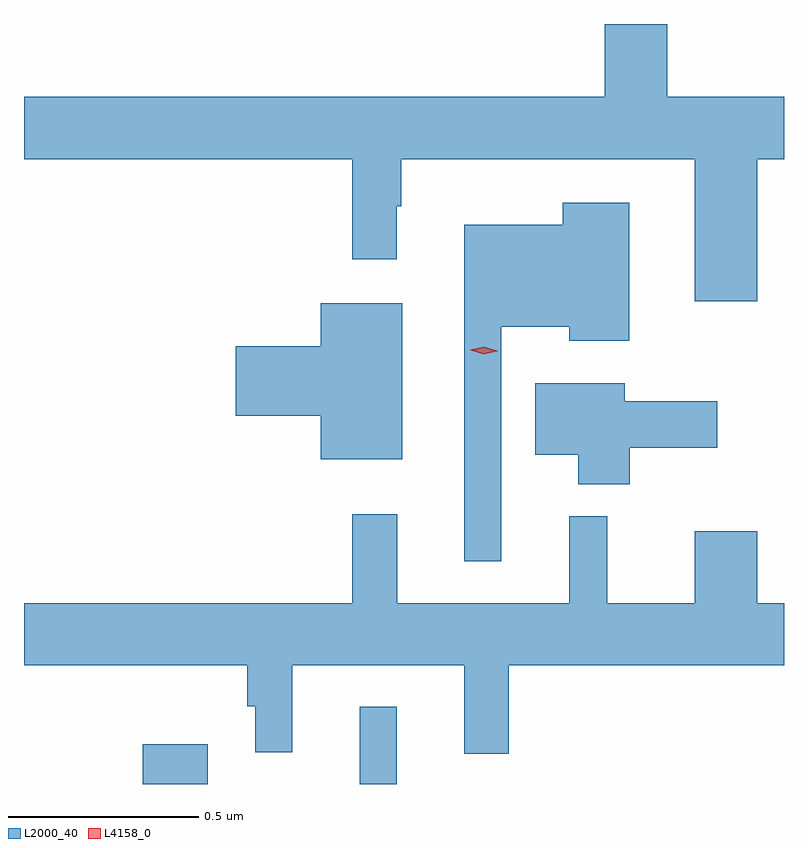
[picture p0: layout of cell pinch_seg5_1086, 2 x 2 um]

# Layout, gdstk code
import gdstk
lib = gdstk.Library(unit=1e-6, precision=1e-09)
def R(c, l, rs):  # rectangles x0, y0, x1, y1
    for r in rs: c.add(gdstk.rectangle(r[:2], r[2:], *l))
def P(c, l, *ps):  # polygons
    for p in ps: c.add(gdstk.Polygon(p, *l))
L2000_40 = (2000, 40)
L4158_0 = (4158, 0)

pinch_seg5_1086 = lib.new_cell('pinch_seg5_1086')
R(pinch_seg5_1086, L2000_40, [(846.872,859.112,847.042,859.216), (847.443,859.112,847.54,859.315)])
P(pinch_seg5_1086, L2000_40, [(848.252,861.112),(848.087,861.112),(848.087,860.92),(846.559,860.92),(846.559,860.756),(847.423,860.756),(847.423,860.493),(847.54,860.493),(847.54,860.633),(847.552,860.633),(847.552,860.756),(848.324,860.756),(848.324,860.382),(848.488,860.382),(848.488,860.756),(848.559,860.756),(848.559,860.92),(848.252,860.92)],
  [(847.815,860.315),(847.994,860.315),(847.994,860.279),(848.152,860.279),(848.152,860.641),(847.977,860.641),(847.977,860.584),(847.718,860.584),(847.718,859.698),(847.815,859.698)],
  [(847.555,860.377),(847.34,860.377),(847.34,860.264),(847.116,860.264),(847.116,860.081),(847.34,860.081),(847.34,859.967),(847.555,859.967)],
  [(848.153,859.997),(848.383,859.997),(848.383,860.119),(848.14,860.119),(848.14,860.167),(847.904,860.167),(847.904,859.979),(848.018,859.979),(848.018,859.901),(848.153,859.901)],
  [(848.559,859.588),(848.488,859.588),(848.488,859.777),(848.324,859.777),(848.324,859.588),(848.094,859.588),(848.094,859.816),(847.994,859.816),(847.994,859.588),(847.541,859.588),(847.541,859.822),(847.423,859.822),(847.423,859.588),(846.559,859.588),(846.559,859.424),(847.147,859.424),(847.147,859.317),(847.167,859.317),(847.167,859.196),(847.265,859.196),(847.265,859.424),(847.718,859.424),(847.718,859.191),(847.835,859.191),(847.835,859.424),(848.559,859.424)])
P(pinch_seg5_1086, L4158_0, [(847.769,860.243),(847.734,860.254),(847.733,860.255),(847.734,860.255),(847.769,860.263),(847.805,860.252),(847.805,860.252),(847.805,860.251)])

lib.write_gds('pinch_seg5_1086.gds')
